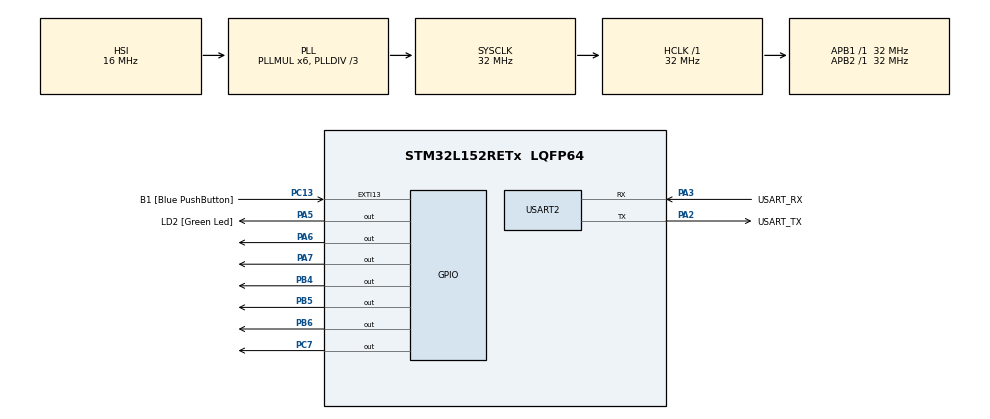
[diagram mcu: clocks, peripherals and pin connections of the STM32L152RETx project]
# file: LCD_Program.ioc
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Mcu.Family=STM32L1
Mcu.Name=STM32L152RETx
Mcu.Package=LQFP64
NVIC.PriorityGroup=NVIC_PRIORITYGROUP_0
PA13.GPIO_Label=TMS
PA13.Mode=Serial_Wire
PA13.Signal=SYS_JTMS-SWDIO
PA14.GPIO_Label=TCK
PA14.Mode=Serial_Wire
PA14.Signal=SYS_JTCK-SWCLK
PA2.GPIO_Label=USART_TX
PA2.Mode=Asynchronous
PA2.Signal=USART2_TX
PA3.GPIO_Label=USART_RX
PA3.Mode=Asynchronous
PA3.Signal=USART2_RX
PA5.GPIO_Label=LD2 [Green Led]
PA5.Signal=GPIO_Output
PA6.Signal=GPIO_Output
PA7.Signal=GPIO_Output
PB3.GPIO_Label=SWO
PB3.Signal=SYS_JTDO-TRACESWO
PB4.Signal=GPIO_Output
PB5.Signal=GPIO_Output
PB6.Signal=GPIO_Output
PC13-WKUP2.GPIO_Label=B1 [Blue PushButton]
PC13-WKUP2.Signal=GPXTI13
PC14-OSC32_IN.Mode=LSE-External-Oscillator
PC14-OSC32_IN.Signal=RCC_OSC32_IN
PC15-OSC32_OUT.Mode=LSE-External-Oscillator
PC15-OSC32_OUT.Signal=RCC_OSC32_OUT
PC7.Signal=GPIO_Output
PH0-OSC_IN.Mode=HSE-External-Clock-Source
PH0-OSC_IN.Signal=RCC_OSC_IN
PH1-OSC_OUT.Signal=RCC_OSC_OUT
ProjectManager.HeapSize=0x200
ProjectManager.StackSize=0x400
ProjectManager.TargetToolchain=STM32CubeIDE
RCC.48MHZClocksFreq_Value=48000000
RCC.AHBFreq_Value=32000000
RCC.APB1Freq_Value=32000000
RCC.APB1TimFreq_Value=32000000
RCC.APB2Freq_Value=32000000
RCC.APB2TimFreq_Value=32000000
RCC.HCLKFreq_Value=32000000
RCC.HSE_VALUE=8000000
RCC.HSI_VALUE=16000000
RCC.MSI_VALUE=2097000
RCC.PLLDIV=RCC_PLL_DIV3
RCC.PLLMUL=RCC_PLL_MUL6
RCC.RTCClockSelectionVirtual=RCC_RTCCLKSOURCE_LSE
RCC.SYSCLKFreq_VALUE=32000000
RCC.SYSCLKSource=RCC_SYSCLKSOURCE_PLLCLK
RCC.USBOutput=48000000
RCC.VCOOutputFreq_Value=96000000
USART2.VirtualMode=VM_ASYNC
board=NUCLEO-L152RE

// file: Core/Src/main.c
/* USER CODE BEGIN Header */
/**
  ******************************************************************************
  * @file           : main.c
  * @brief          : Main program body
  ******************************************************************************
  * @attention
  *
  * Copyright (c) 2024 STMicroelectronics.
  * All rights reserved.
  *
  * This software is licensed under terms that can be found in the LICENSE file
  * in the root directory of this software component.
  * If no LICENSE file comes with this software, it is provided AS-IS.
  *
  ******************************************************************************
  */
/* USER CODE END Header */
#include "main.h"
#include "usart.h"
#include "gpio.h"
#include "lcd.h"

/* USER CODE BEGIN Includes */
// this is pin D7 on STM32 Board
#define b_pin GPIO_PIN_8
#define b_port GPIOA
/* USER CODE END Includes */

void SystemClock_Config(void);

int main(void)
{

  /* USER CODE BEGIN 1 */
	GPIO_PinState button_state;
	GPIO_PinState last_state = GPIO_PIN_RESET;
  /* USER CODE END 1 */

  /* MCU Configuration--------------------------------------------------------*/

  /* Reset of all peripherals, Initializes the Flash interface and the Systick. */
  HAL_Init();

  /* Configure the system clock */
  SystemClock_Config();

  /* Initialize all configured peripherals */
  MX_GPIO_Init();
  MX_USART2_UART_Init();
  /* USER CODE BEGIN 2 */
	// Lcd_PortType ports[] = { D4_GPIO_Port, D5_GPIO_Port, D6_GPIO_Port, D7_GPIO_Port };
	Lcd_PortType ports[] = { GPIOC, GPIOB, GPIOA, GPIOA };
	// Lcd_PinType pins[] = {D4_Pin, D5_Pin, D6_Pin, D7_Pin};
	Lcd_PinType pins[] = {GPIO_PIN_7, GPIO_PIN_6, GPIO_PIN_7, GPIO_PIN_6};
	Lcd_HandleTypeDef lcd;
	// Lcd_create(ports, pins, RS_GPIO_Port, RS_Pin, EN_GPIO_Port, EN_Pin, LCD_4_BIT_MODE);
	lcd = Lcd_create(ports, pins, GPIOB, GPIO_PIN_5, GPIOB, GPIO_PIN_4, LCD_4_BIT_MODE);
	Lcd_cursor(&lcd, 0,1);
	Lcd_string(&lcd, "Capstone Proj");
	/* for ( int x = 1; x <= 40 ; x++ )
	  {
		Lcd_cursor(&lcd, 1,5);
		Lcd_int(&lcd, x);
		HAL_Delay (1000);
		if (x == 40){
			Lcd_clear(&lcd);
		}
	  }*/
  /* USER CODE END 2 */

  /* Infinite loop */
  /* USER CODE BEGIN WHILE */
  while (1)
  {
	  button_state = HAL_GPIO_ReadPin(b_port, b_pin);
	 if (button_state != last_state){
		 if (button_state == GPIO_PIN_SET){
			 Lcd_clear(&lcd);
			 Lcd_cursor(&lcd, 1,1);
			 Lcd_string(&lcd, "Button Pressed");
		 }
		 else {
			 Lcd_clear(&lcd);
			 Lcd_cursor(&lcd, 1,1);
			 Lcd_string(&lcd, "Button Released");
		 }
		 last_state = button_state;
	  }

    /* USER CODE END WHILE */

  }
}

void SystemClock_Config(void)
{
  RCC_OscInitTypeDef RCC_OscInitStruct = {0};
  RCC_ClkInitTypeDef RCC_ClkInitStruct = {0};

  /** Configure the main internal regulator output voltage
  */
  __HAL_PWR_VOLTAGESCALING_CONFIG(PWR_REGULATOR_VOLTAGE_SCALE1);

  /** Initializes the RCC Oscillators according to the specified parameters
  * in the RCC_OscInitTypeDef structure.
  */
  RCC_OscInitStruct.OscillatorType = RCC_OSCILLATORTYPE_HSI;
  RCC_OscInitStruct.HSIState = RCC_HSI_ON;
  RCC_OscInitStruct.HSICalibrationValue = RCC_HSICALIBRATION_DEFAULT;
  RCC_OscInitStruct.PLL.PLLState = RCC_PLL_ON;
  RCC_OscInitStruct.PLL.PLLSource = RCC_PLLSOURCE_HSI;
  RCC_OscInitStruct.PLL.PLLMUL = RCC_PLL_MUL6;
  RCC_OscInitStruct.PLL.PLLDIV = RCC_PLL_DIV3;
  if (HAL_RCC_OscConfig(&RCC_OscInitStruct) != HAL_OK)
  {
    Error_Handler();
  }

  /** Initializes the CPU, AHB and APB buses clocks
  */
  RCC_ClkInitStruct.ClockType = RCC_CLOCKTYPE_HCLK|RCC_CLOCKTYPE_SYSCLK
                              |RCC_CLOCKTYPE_PCLK1|RCC_CLOCKTYPE_PCLK2;
  RCC_ClkInitStruct.SYSCLKSource = RCC_SYSCLKSOURCE_PLLCLK;
  RCC_ClkInitStruct.AHBCLKDivider = RCC_SYSCLK_DIV1;
  RCC_ClkInitStruct.APB1CLKDivider = RCC_HCLK_DIV1;
  RCC_ClkInitStruct.APB2CLKDivider = RCC_HCLK_DIV1;

  if (HAL_RCC_ClockConfig(&RCC_ClkInitStruct, FLASH_LATENCY_1) != HAL_OK)
  {
    Error_Handler();
  }
}

void Error_Handler(void)
{
  __disable_irq();
  while (1)
  {
  }
}
